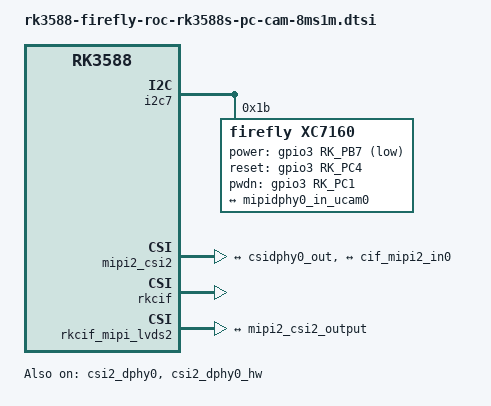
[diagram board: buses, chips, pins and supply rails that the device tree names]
// SPDX-License-Identifier: (GPL-2.0+ OR MIT)
/*
 * Copyright (c) 2021 Rockchip Electronics Co., Ltd.
 *
 */

&i2c7 {
	status = "okay";
	pinctrl-names = "default";
	pinctrl-0 = <&i2c7m2_xfer>;

	XC7160: XC7160b@1b{
		compatible = "firefly,xc7160";
		reg = <0x1b>;
		clocks = <&cru CLK_MIPI_CAMARAOUT_M1>;
		clock-names = "xvclk";
		pinctrl-names = "default";
		pinctrl-0 = <&mipim1_camera1_clk>;
		power-domains = <&power RK3588_PD_VI>;

		power-gpios = <&gpio3 RK_PB7 GPIO_ACTIVE_LOW>;
		reset-gpios = <&gpio3 RK_PC4 GPIO_ACTIVE_HIGH>;
		pwdn-gpios = <&gpio3 RK_PC1 GPIO_ACTIVE_HIGH>;

		firefly,clkout-enabled-index = <0>;
		rockchip,camera-module-index = <0>;
		rockchip,camera-module-facing = "back";
		rockchip,camera-module-name = "NC";
		rockchip,camera-module-lens-name = "NC";
		port {
			xc7160_out0: endpoint {
				remote-endpoint = <&mipidphy0_in_ucam0>;
				data-lanes = <1 2 3 4>;
			};
		};
	};

};

&csi2_dphy0 {
	status = "okay";
#ifdef FF_COMPATIBLE
	firefly-compatible;
#endif
	ports {
		#address-cells = <1>;
		#size-cells = <0>;

		port@0 {
			reg = <0>;
			#address-cells = <1>;
			#size-cells = <0>;

			mipidphy0_in_ucam0: endpoint@1 {
				reg = <1>;
				remote-endpoint = <&xc7160_out0>;
				data-lanes = <1 2 3 4>;
			};
		};

		port@1 {
			reg = <1>;
			#address-cells = <1>;
			#size-cells = <0>;

			csidphy0_out: endpoint@0 {
				reg = <0>;
				remote-endpoint = <&mipi2_csi2_input0>;
			};
		};
	};
};

&csi2_dphy0_hw {
	status = "okay";
};

&mipi2_csi2 {
	status = "okay";
#ifdef FF_COMPATIBLE
	firefly-compatible;
#endif
	ports {
		#address-cells = <1>;
		#size-cells = <0>;

		port@0 {
			reg = <0>;
			#address-cells = <1>;
			#size-cells = <0>;

			mipi2_csi2_input0: endpoint@0 {
				reg = <0>;
				remote-endpoint = <&csidphy0_out>;
			};
		};

		port@1 {
			reg = <1>;
			#address-cells = <1>;
			#size-cells = <0>;

			mipi2_csi2_output: endpoint@0 {
				reg = <0>;
				remote-endpoint = <&cif_mipi2_in0>;
			};
		};
	};
};

&rkcif {
	status = "okay";
};

&rkcif_mipi_lvds2 {
	status = "okay";
	firefly,yuv_camera;

	port {
		cif_mipi2_in0: endpoint {
			remote-endpoint = <&mipi2_csi2_output>;
		};
	};
};

&rkcif_mmu {
	status = "okay";
};
